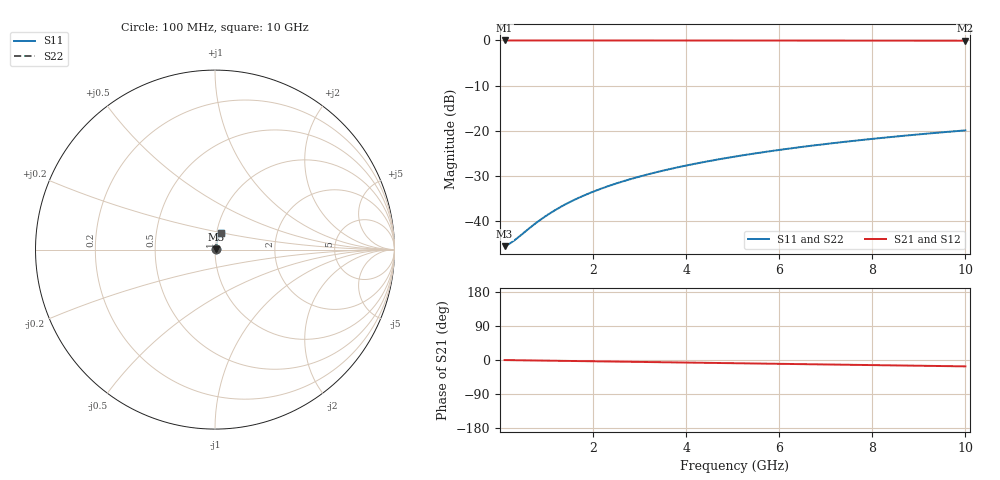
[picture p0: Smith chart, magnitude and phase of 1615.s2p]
# Hz S RI R 50.00
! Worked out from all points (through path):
!   100 points, 100 MHz to 10 GHz, reference 50 ohm
!   highest |S21| = -0.05 dB at 100 MHz (marker M1); lowest = -0.1 dB at 10 GHz (marker M2)
!   group delay of S21, straight-line fit = 4.67 ps
!   lowest |S11| = -45.5 dB at 100 MHz (marker M3), VSWR 1.01, Z = 50.5 + j0.102 ohm
!   |S11| at or under -10 dB: start of sweep to end of sweep
!   |S22| runs from -45.5 to -19.9 dB; largest |S21 - S12| = 0
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1e8  0.00524 0.00101  0.9948 -0.00292  0.9948 -0.00292  0.00524 0.00101
2e8  0.00528 0.00203  0.9947 -0.00585  0.9947 -0.00585  0.00528 0.00203
3e8  0.00532 0.00304  0.9947 -0.00877  0.9947 -0.00877  0.00532 0.00304
8e8  0.00556 0.0081  0.9943 -0.0234  0.9943 -0.0234  0.00556 0.0081
9e8  0.00563 0.00911  0.9942 -0.0263  0.9942 -0.0263  0.00563 0.00911
1.1e9  0.00576 0.0111  0.994 -0.0322  0.994 -0.0322  0.00576 0.0111
1.4e9  0.00601 0.0142  0.9936 -0.0409  0.9936 -0.0409  0.00601 0.0142
1.6e9  0.00621 0.0162  0.9933 -0.0467  0.9933 -0.0467  0.00621 0.0162
1.8e9  0.00643 0.0182  0.9929 -0.0526  0.9929 -0.0526  0.00643 0.0182
2.1e9  0.00679 0.0212  0.9924 -0.0613  0.9924 -0.0613  0.00679 0.0212
2.5e9  0.00737 0.0252  0.9914 -0.073  0.9914 -0.073  0.00737 0.0252
2.9e9  0.00803 0.0292  0.9904 -0.0846  0.9904 -0.0846  0.00803 0.0292
3.4e9  0.00899 0.0342  0.9888 -0.0991  0.9888 -0.0991  0.00899 0.0342
3.8e9  0.00986 0.0381  0.9874 -0.1107  0.9874 -0.1107  0.00986 0.0381
4.2e9  0.0108 0.0421  0.9859 -0.1223  0.9859 -0.1223  0.0108 0.0421
4.6e9  0.0119 0.046  0.9842 -0.1338  0.9842 -0.1338  0.0119 0.046
5.1e9  0.0133 0.0508  0.9818 -0.1482  0.9818 -0.1482  0.0133 0.0508
5.9e9  0.0159 0.0584  0.9776 -0.1711  0.9776 -0.1711  0.0159 0.0584
6.7e9  0.0189 0.0659  0.9728 -0.1939  0.9728 -0.1939  0.0189 0.0659
7.5e9  0.0222 0.0733  0.9673 -0.2165  0.9673 -0.2165  0.0222 0.0733
8.4e9  0.0263 0.0814  0.9606 -0.2417  0.9606 -0.2417  0.0263 0.0814
1e10  0.0347 0.0951  0.9467 -0.2859  0.9467 -0.2859  0.0347 0.0951
